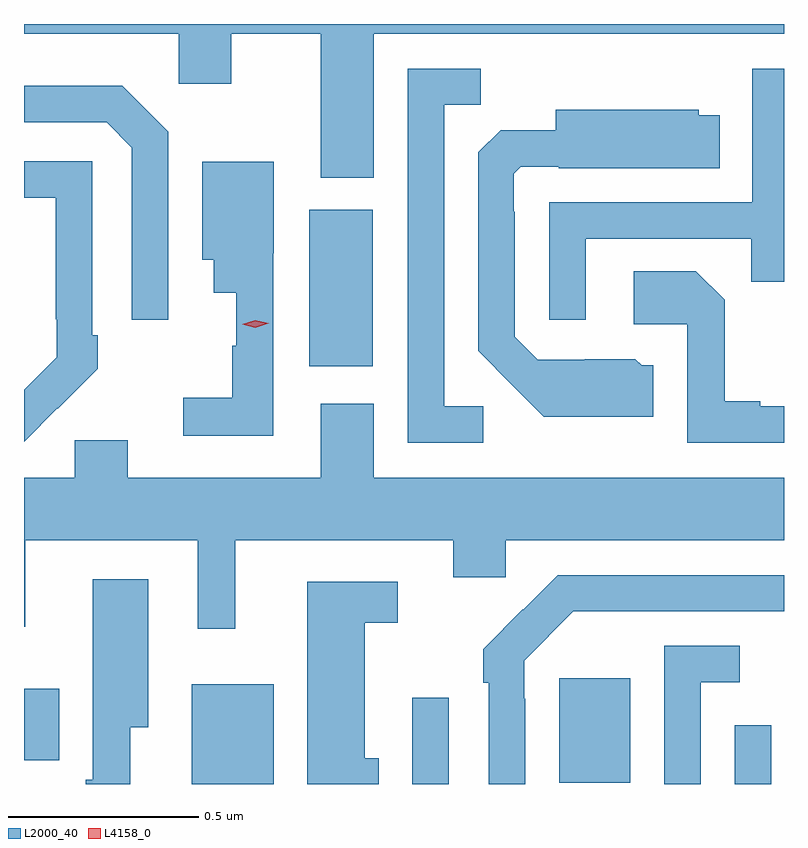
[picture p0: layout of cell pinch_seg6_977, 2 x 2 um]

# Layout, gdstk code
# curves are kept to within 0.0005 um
import gdstk
lib = gdstk.Library(unit=1e-6, precision=1e-09)
def R(c, l, rs):  # rectangles x0, y0, x1, y1
    for r in rs: c.add(gdstk.rectangle(r[:2], r[2:], *l))
def P(c, l, *ps):  # polygons
    for p in ps: c.add(gdstk.Polygon(p, *l))
L2000_40 = (2000, 40)
L4158_0 = (4158, 0)

pinch_seg6_977 = lib.new_cell('pinch_seg6_977')
R(pinch_seg6_977, L2000_40, [(333.773,938.702,333.988,938.965), (334.353,938.702,334.449,938.929), (335.202,938.702,335.298,938.857), (334.739,938.705,334.927,938.98), (333.331,938.765,333.424,938.953), (334.082,939.801,334.249,940.213)])
P(pinch_seg6_977, L2000_40, [(334.252,940.676),(335.331,940.676),(335.331,940.702),(333.331,940.702),(333.331,940.676),(333.738,940.676),(333.738,940.545),(333.877,940.545),(333.877,940.676),(334.112,940.676),(334.112,940.298),(334.252,940.298)],
  [(334.54,939.696),(334.437,939.696),(334.437,940.489),(334.533,940.489),(334.533,940.584),(334.341,940.584),(334.341,939.6),(334.54,939.6)],
  [(334.809,940.137),(335.245,940.137),(335.245,940.024),(335.331,940.024),(335.331,940.584),(335.247,940.584),(335.247,940.233),(334.713,940.233),(334.713,939.924),(334.809,939.924)],
  [(333.711,940.419),(333.59,940.54),(333.331,940.54),(333.331,940.443),(333.549,940.443),(333.615,940.377),(333.615,939.924),(333.711,939.924)],
  [(334.987,939.804),(334.956,939.804),(334.94,939.82),(334.806,939.82),(334.806,939.819),(334.683,939.819),(334.623,939.879),(334.623,940.208),(334.62,940.208),(334.62,940.308),(334.638,940.326),(334.738,940.326),(334.738,940.322),(335.162,940.322),(335.162,940.462),(335.106,940.462),(335.106,940.477),(334.73,940.477),(334.73,940.423),(334.586,940.423),(334.527,940.364),(334.527,939.842),(334.699,939.668),(334.987,939.668)],
  [(333.419,939.691),(333.42,939.69),(333.525,939.795),(333.525,939.883),(333.51,939.883),(333.51,940.341),(333.331,940.341),(333.331,940.245),(333.414,940.245),(333.414,939.925),(333.417,939.925),(333.417,939.825),(333.331,939.739),(333.331,939.603)],
  [(333.987,940.099),(333.988,940.099),(333.988,940.339),(333.8,940.339),(333.8,940.082),(333.83,940.082),(333.83,939.995),(333.89,939.995),(333.89,939.855),(333.879,939.855),(333.879,939.719),(333.75,939.719),(333.75,939.618),(333.987,939.618)],
  [(335.331,939.696),(335.269,939.696),(335.269,939.709),(335.175,939.709),(335.175,939.976),(335.099,940.052),(334.935,940.052),(334.935,939.912),(335.076,939.912),(335.076,939.6),(335.331,939.6)],
  [(333.887,939.344),(334.46,939.344),(334.46,939.246),(334.599,939.246),(334.599,939.344),(335.331,939.344),(335.331,939.508),(334.252,939.508),(334.252,939.703),(334.112,939.703),(334.112,939.508),(333.604,939.508),(333.604,939.606),(333.465,939.606),(333.465,939.508),(333.331,939.508),(333.331,939.116),(333.334,939.116),(333.334,939.344),(333.788,939.344),(333.788,939.111),(333.887,939.111)],
  [(334.65,938.927),(334.647,938.927),(334.647,939.027),(334.776,939.156),(335.331,939.156),(335.331,939.252),(334.736,939.252),(334.645,939.161),(334.644,939.162),(334.539,939.057),(334.539,938.969),(334.554,938.969),(334.554,938.702),(334.65,938.702)],
  [(333.61,938.852),(333.658,938.852),(333.658,939.241),(333.512,939.241),(333.512,938.713),(333.493,938.713),(333.493,938.702),(333.61,938.702)],
  [(334.264,938.77),(334.228,938.77),(334.228,939.126),(334.315,939.126),(334.315,939.234),(334.076,939.234),(334.076,938.702),(334.264,938.702)],
  [(335.112,938.97),(335.215,938.97),(335.215,939.066),(335.016,939.066),(335.016,938.702),(335.112,938.702)])
P(pinch_seg6_977, L4158_0, [(333.94,939.903),(333.905,939.912),(333.905,939.912),(333.905,939.912),(333.94,939.923),(333.975,939.915),(333.975,939.915),(333.975,939.914)])

lib.write_gds('pinch_seg6_977.gds')
